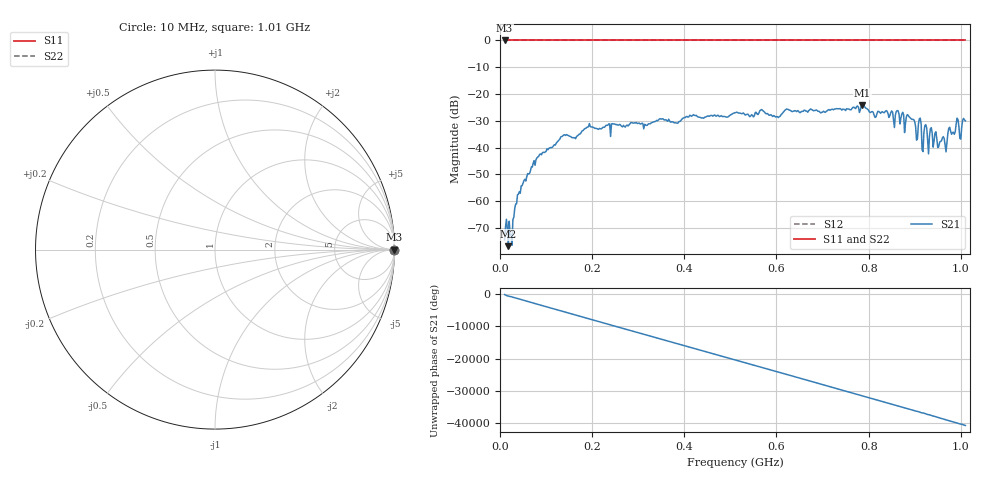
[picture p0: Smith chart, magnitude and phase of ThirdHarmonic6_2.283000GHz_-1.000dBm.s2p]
! 8/17/2025 2:58:37 AM
! C:\ANRITSUVNA\TEMP\TEMP.S2P
! CHANNEL.1
! TR.MEASUREMENT
! RAW.DATA
! RF.CORRECTION.OFF
! AVERAGING.OFF
! IF.BANDWIDTH: 5KHZ
! SWEEPTYPE:  FREQ.SWEEP(Linear)
! Reference Plane Port Info
! PORT:  PORT1  PORT2
! DISTANCE:  0  m  0  m
! TIME:  0  s  0  s
! PHASE.OFFSET:  0  deg.  0  deg.
! LOSS:  0  dB  0  dB
! REF.LOSS:  0  dB  0  dB
! REF.FREQ:  0  Hz  0  Hz
! Power Info
! POWER:  -20  dBm  -20  dBm
! EFF.POWER:  -20  dBm  -20  dBm
! SOURCE.ATTEN:  0  dB  0  dB
! TEST.ATTEN:  0  dB  0  dB
# GHZ S RI R 50.0
! FREQ.GHZ  S11RE  S11IM  S21RE  S21IM  S12RE  S12IM  S22RE  S22IM
!; PortSelection: Port_12
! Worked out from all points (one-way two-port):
!   501 points, 10 MHz to 1.01 GHz, reference 50 ohm
!   highest |S21| = -24.17 dB at 786 MHz (marker M1); lowest = -76.8 dB at 18 MHz (marker M2)
!   lowest |S11| = 0.0 dB at 10 MHz (marker M3)
!   |S11| at or under -10 dB: nowhere
!   |S22| runs from 0.0 to 0.0 dB; largest |S21 - S12| = 1.1
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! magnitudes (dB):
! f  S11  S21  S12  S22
! 10 MHz  0.0  -74.5  0.0  0.0
! 18 MHz  0.0  -76.8  0.0  0.0
! 22 MHz  0.0  -72.3  0.0  0.0
! 42 MHz  0.0  -56.5  0.0  0.0
! 82 MHz  0.0  -43.5  0.0  0.0
! 136 MHz  0.0  -35.6  0.0  0.0
! 178 MHz  0.0  -33.8  0.0  0.0
! 344 MHz  0.0  -29.7  0.0  0.0
! 510 MHz  0.0  -27.0  0.0  0.0
! 678 MHz  0.0  -25.9  0.0  0.0
! 786 MHz  0.0  -24.2  0.0  0.0
! 844 MHz  0.0  -28.7  0.0  0.0
! 888 MHz  0.0  -28.5  0.0  0.0
! 904 MHz  0.0  -37.2  0.0  0.0
! 910 MHz  0.0  -29.3  0.0  0.0
! 918 MHz  0.0  -41.5  0.0  0.0
! 924 MHz  0.0  -31.5  0.0  0.0
! 954 MHz  0.0  -38.1  0.0  0.0
! 968 MHz  0.0  -41.6  0.0  0.0
! 992 MHz  0.0  -29.0  0.0  0.0
! 1 GHz  0.0  -36.8  0.0  0.0
! 1.01 GHz  0.0  -30.0  0.0  0.0
